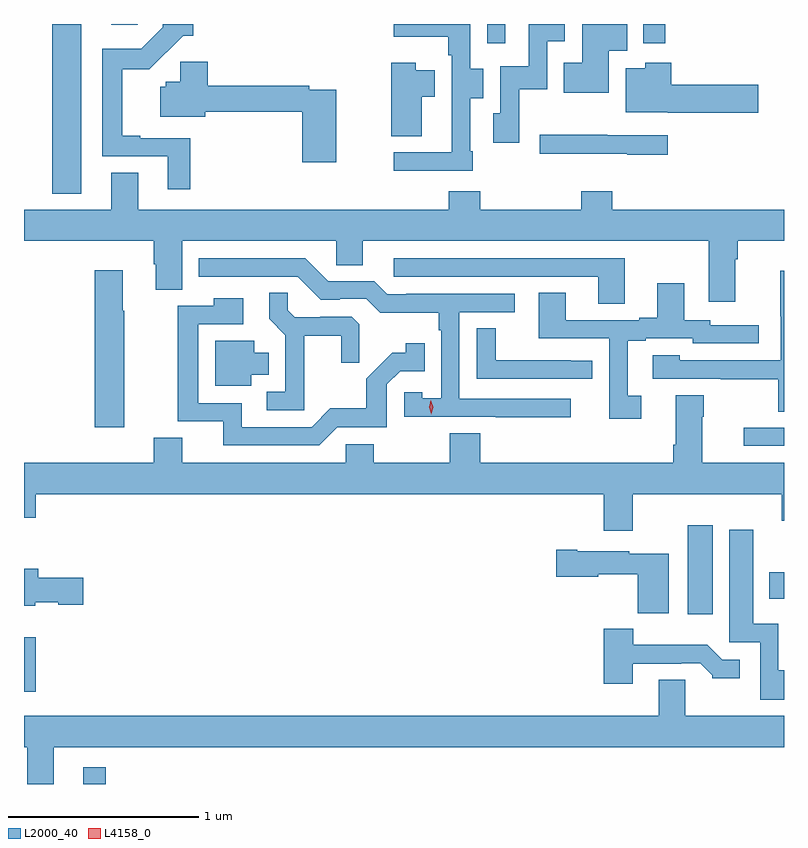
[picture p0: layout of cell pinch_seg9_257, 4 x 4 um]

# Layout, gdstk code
import gdstk
lib = gdstk.Library(unit=1e-6, precision=1e-09)
def R(c, l, rs):  # rectangles x0, y0, x1, y1
    for r in rs: c.add(gdstk.rectangle(r[:2], r[2:], *l))
def P(c, l, *ps):  # polygons
    for p in ps: c.add(gdstk.Polygon(p, *l))
L2000_40 = (2000, 40)
L4158_0 = (4158, 0)

pinch_seg9_257 = lib.new_cell('pinch_seg9_257')
R(pinch_seg9_257, L2000_40, [(395.726,1209.546,395.843,1209.634), (395.413,1210.032,395.474,1210.318), (398.906,1210.44,399.037,1210.909), (399.335,1210.52,399.413,1210.66), (399.201,1211.325,399.413,1211.421), (395.561,1212.653,395.713,1213.546), (397.851,1213.446,397.947,1213.546), (398.673,1213.446,398.789,1213.546), (395.873,1213.542,396.012,1213.546)])
P(pinch_seg9_257, L2000_40, [(398.019,1213.202),(398.166,1213.202),(398.166,1213.454),(398.26,1213.454),(398.26,1213.546),(398.07,1213.546),(398.07,1213.324),(397.92,1213.324),(397.92,1213.077),(397.883,1213.077),(397.883,1212.921),(398.019,1212.921)],
  [(396.287,1212.945),(396.025,1212.945),(396.025,1212.958),(395.929,1212.958),(395.929,1213.307),(396.073,1213.307),(396.251,1213.484),(396.305,1213.484),(396.305,1213.546),(396.144,1213.546),(396.144,1213.53),(396.03,1213.416),(395.825,1213.416),(395.825,1212.849),(396.17,1212.849),(396.17,1212.675),(396.287,1212.675)],
  [(398.491,1213.406),(398.588,1213.406),(398.588,1213.546),(398.351,1213.546),(398.351,1213.342),(398.255,1213.342),(398.255,1213.184),(398.491,1213.184)],
  [(397.774,1212.877),(397.761,1212.877),(397.761,1213.156),(397.831,1213.156),(397.831,1213.311),(397.761,1213.311),(397.761,1213.546),(397.359,1213.546),(397.359,1213.478),(397.645,1213.478),(397.645,1213.382),(397.665,1213.382),(397.665,1213.067),(397.664,1213.067),(397.664,1212.87),(397.359,1212.87),(397.359,1212.774),(397.774,1212.774)],
  [(397.056,1213.2),(396.914,1213.2),(396.914,1213.22),(396.38,1213.22),(396.38,1213.347),(396.235,1213.347),(396.235,1213.242),(396.159,1213.242),(396.159,1213.215),(396.131,1213.215),(396.131,1213.058),(396.367,1213.058),(396.367,1213.084),(396.878,1213.084),(396.878,1212.819),(397.056,1212.819)],
  [(399.277,1213.226),(398.819,1213.226),(398.819,1213.342),(398.684,1213.342),(398.684,1213.312),(398.579,1213.312),(398.579,1213.082),(398.802,1213.082),(398.802,1213.079),(399.277,1213.079)],
  [(397.507,1213.163),(397.576,1213.163),(397.576,1213.303),(397.474,1213.303),(397.474,1213.342),(397.345,1213.342),(397.345,1212.955),(397.507,1212.955)],
  [(398.8,1212.96),(398.483,1212.96),(398.483,1212.963),(398.127,1212.963),(398.127,1212.863),(398.587,1212.863),(398.587,1212.859),(398.8,1212.859)],
  [(399.157,1212.308),(399.17,1212.308),(399.17,1212.404),(399.413,1212.404),(399.413,1212.568),(398.51,1212.568),(398.51,1212.667),(398.345,1212.667),(398.345,1212.568),(397.814,1212.568),(397.814,1212.667),(397.649,1212.667),(397.649,1212.568),(396.013,1212.568),(396.013,1212.763),(395.873,1212.763),(395.873,1212.568),(395.413,1212.568),(395.413,1212.404),(396.095,1212.404),(396.095,1212.282),(396.107,1212.282),(396.107,1212.148),(396.247,1212.148),(396.247,1212.404),(397.056,1212.404),(397.056,1212.277),(397.195,1212.277),(397.195,1212.404),(399.017,1212.404),(399.017,1212.084),(399.157,1212.084)],
  [(398.575,1212.312),(397.359,1212.312),(397.359,1212.216),(398.435,1212.216),(398.435,1212.073),(398.575,1212.073)],
  [(398.29,1211.574),(397.704,1211.574),(397.704,1212.03),(397.996,1212.03),(397.996,1212.126),(397.426,1212.126),(397.426,1212.123),(397.326,1212.123),(397.257,1212.192),(397.014,1212.192),(396.894,1212.312),(396.332,1212.312),(396.332,1212.216),(396.855,1212.216),(396.975,1212.096),(397.076,1212.096),(397.076,1212.099),(397.215,1212.099),(397.288,1212.026),(397.596,1212.026),(397.596,1211.933),(397.608,1211.933),(397.608,1211.575),(397.509,1211.575),(397.509,1211.607),(397.413,1211.607),(397.413,1211.478),(397.897,1211.478),(397.897,1211.476),(398.29,1211.476)],
  [(395.94,1212.037),(395.932,1212.037),(395.932,1212.25),(395.786,1212.25),(395.786,1211.424),(395.94,1211.424)],
  [(399.413,1212.247),(399.394,1212.247),(399.394,1212.008),(399.396,1212.008),(399.396,1211.775),(398.865,1211.775),(398.865,1211.803),(398.721,1211.803),(398.721,1211.679),(399.079,1211.679),(399.079,1211.677),(399.384,1211.677),(399.384,1211.506),(399.413,1211.506)],
  [(398.662,1211.589),(398.59,1211.589),(398.59,1211.88),(398.686,1211.88),(398.686,1211.892),(398.934,1211.892),(398.934,1211.865),(399.28,1211.865),(399.28,1211.961),(399.024,1211.961),(399.024,1211.988),(398.887,1211.988),(398.887,1212.181),(398.747,1212.181),(398.747,1212.001),(398.651,1212.001),(398.651,1211.988),(398.263,1211.988),(398.263,1212.131),(398.123,1212.131),(398.123,1211.892),(398.493,1211.892),(398.493,1211.469),(398.662,1211.469)],
  [(396.887,1211.906),(397.084,1211.906),(397.084,1211.763),(397.178,1211.763),(397.178,1211.965),(397.137,1212.006),(396.972,1212.006),(396.972,1212.003),(396.838,1212.003),(396.801,1212.04),(396.801,1212.131),(396.703,1212.131),(396.703,1211.995),(396.789,1211.909),(396.789,1211.61),(396.69,1211.61),(396.69,1211.514),(396.887,1211.514)],
  [(397.062,1211.424),(397.323,1211.424),(397.323,1211.649),(397.392,1211.718),(397.523,1211.718),(397.523,1211.866),(397.422,1211.866),(397.422,1211.816),(397.352,1211.816),(397.215,1211.678),(397.215,1211.523),(397.026,1211.523),(396.927,1211.424),(396.559,1211.424),(396.559,1211.55),(396.33,1211.55),(396.33,1211.967),(396.568,1211.967),(396.568,1212.103),(396.412,1212.103),(396.412,1212.063),(396.222,1212.063),(396.222,1211.454),(396.461,1211.454),(396.461,1211.328),(396.966,1211.328)],
  [(398.404,1211.774),(398.291,1211.774),(398.291,1211.775),(397.896,1211.775),(397.896,1211.945),(397.797,1211.945),(397.797,1211.679),(398.404,1211.679)],
  [(396.61,1211.699),(396.7,1211.699),(396.7,1211.815),(396.625,1211.815),(396.625,1211.878),(396.419,1211.878),(396.419,1211.642),(396.61,1211.642)],
  [(398.617,1211.072),(399.401,1211.072),(399.401,1210.931),(399.413,1210.931),(399.413,1211.236),(398.983,1211.236),(398.983,1211.48),(398.991,1211.48),(398.991,1211.593),(398.843,1211.593),(398.843,1211.332),(398.831,1211.332),(398.831,1211.236),(397.814,1211.236),(397.814,1211.393),(397.654,1211.393),(397.654,1211.236),(397.254,1211.236),(397.254,1211.334),(397.107,1211.334),(397.107,1211.236),(396.247,1211.236),(396.247,1211.369),(396.095,1211.369),(396.095,1211.236),(395.413,1211.236),(395.413,1210.948),(395.474,1210.948),(395.474,1211.072),(398.465,1211.072),(398.465,1210.878),(398.617,1210.878)],
  [(399.413,1210.146),(399.384,1210.146),(399.384,1210.39),(399.25,1210.39),(399.25,1210.885),(399.125,1210.885),(399.125,1210.293),(399.288,1210.293),(399.288,1209.99),(399.413,1209.99)],
  [(398.806,1210.759),(398.598,1210.759),(398.598,1210.771),(398.326,1210.771),(398.326,1210.779),(398.214,1210.779),(398.214,1210.637),(398.436,1210.637),(398.436,1210.649),(398.644,1210.649),(398.644,1210.445),(398.806,1210.445)],
  [(395.472,1210.502),(395.592,1210.502),(395.592,1210.49),(395.725,1210.49),(395.725,1210.632),(395.489,1210.632),(395.489,1210.678),(395.413,1210.678),(395.413,1210.484),(395.472,1210.484)],
  [(398.617,1210.179),(398.873,1210.179),(398.873,1210.182),(398.972,1210.182),(399.036,1210.118),(399.036,1210.103),(399.181,1210.103),(399.181,1210.2),(399.087,1210.2),(399.009,1210.279),(398.62,1210.279),(398.62,1210.363),(398.465,1210.363),(398.465,1210.074),(398.617,1210.074)],
  [(395.569,1209.74),(399.413,1209.74),(399.413,1209.904),(398.893,1209.904),(398.893,1210.094),(398.753,1210.094),(398.753,1209.904),(395.413,1209.904),(395.413,1209.74),(395.429,1209.74),(395.429,1209.546),(395.569,1209.546)])
P(pinch_seg9_257, L4158_0, [(397.557,1211.493),(397.557,1211.494),(397.546,1211.529),(397.554,1211.565),(397.555,1211.565),(397.555,1211.565),(397.566,1211.53),(397.557,1211.494)])

lib.write_gds('pinch_seg9_257.gds')
